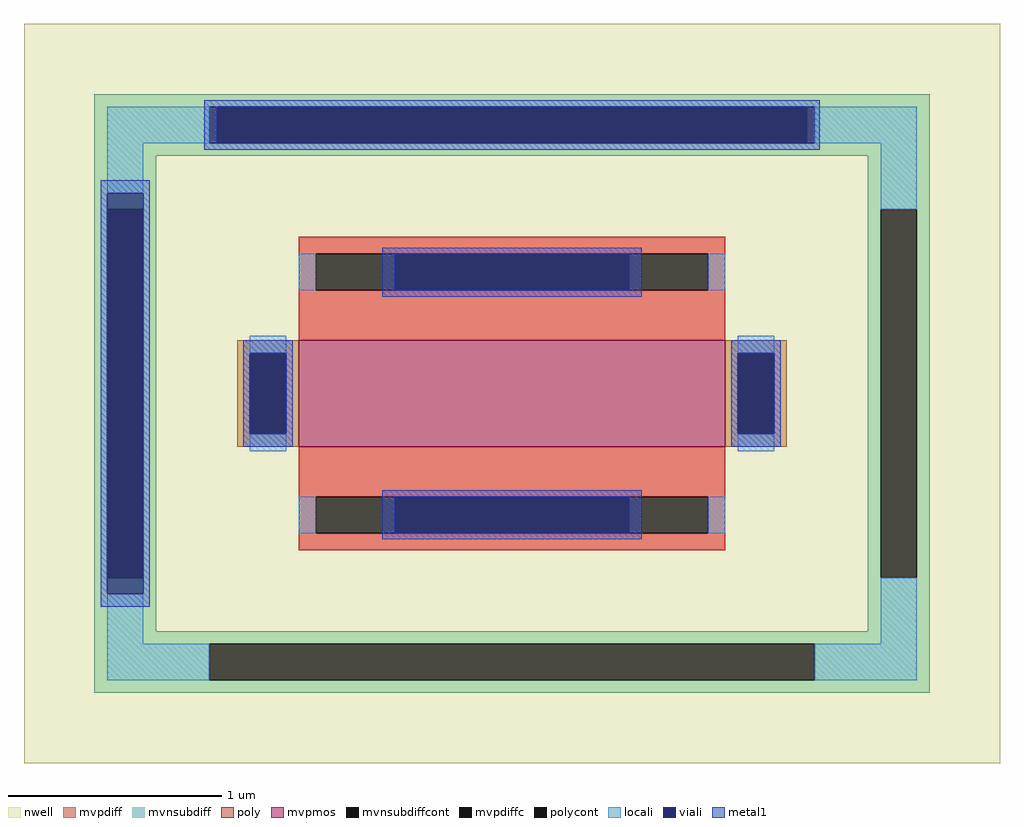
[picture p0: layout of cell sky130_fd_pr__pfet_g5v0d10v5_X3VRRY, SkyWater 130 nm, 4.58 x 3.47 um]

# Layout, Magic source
magic
tech sky130A
magscale 1 2
<< nwell >>
rect -458 -347 458 347
<< mvpmos >>
rect -200 -50 200 50
<< mvpdiff >>
rect -258 38 -200 50
rect -258 -38 -246 38
rect -212 -38 -200 38
rect -258 -50 -200 -38
rect 200 38 258 50
rect 200 -38 212 38
rect 246 -38 258 38
rect 200 -50 258 -38
<< mvpdiffc >>
rect -246 -38 -212 38
rect 212 -38 246 38
<< mvnsubdiff >>
rect -392 269 392 281
rect -392 235 -284 269
rect 284 235 392 269
rect -392 223 392 235
rect -392 173 -334 223
rect -392 -173 -380 173
rect -346 -173 -334 173
rect 334 173 392 223
rect -392 -223 -334 -173
rect 334 -173 346 173
rect 380 -173 392 173
rect 334 -223 392 -173
rect -392 -235 392 -223
rect -392 -269 -284 -235
rect 284 -269 392 -235
rect -392 -281 392 -269
<< mvnsubdiffcont >>
rect -284 235 284 269
rect -380 -173 -346 173
rect 346 -173 380 173
rect -284 -269 284 -235
<< poly >>
rect -200 131 200 147
rect -200 97 -184 131
rect 184 97 200 131
rect -200 50 200 97
rect -200 -97 200 -50
rect -200 -131 -184 -97
rect 184 -131 200 -97
rect -200 -147 200 -131
<< polycont >>
rect -184 97 184 131
rect -184 -131 184 -97
<< locali >>
rect -380 235 -284 269
rect 284 235 380 269
rect -380 188 -346 235
rect 346 173 380 235
rect -200 97 -184 131
rect 184 97 200 131
rect -246 38 -212 54
rect -246 -54 -212 -38
rect 212 38 246 54
rect 212 -54 246 -38
rect -200 -131 -184 -97
rect 184 -131 200 -97
rect -380 -235 -346 -188
rect 346 -235 380 -173
rect -380 -269 -284 -235
rect 284 -269 380 -235
<< viali >>
rect -277 235 277 269
rect -380 173 -346 188
rect -380 -173 -346 173
rect -110 97 110 131
rect -246 -38 -212 38
rect 212 -38 246 38
rect -110 -131 110 -97
rect -380 -188 -346 -173
<< metal1 >>
rect -289 269 289 275
rect -289 235 -277 269
rect 277 235 289 269
rect -289 229 289 235
rect -386 188 -340 200
rect -386 -188 -380 188
rect -346 -188 -340 188
rect -122 131 122 137
rect -122 97 -110 131
rect 110 97 122 131
rect -122 91 122 97
rect -252 38 -206 50
rect -252 -38 -246 38
rect -212 -38 -206 38
rect -252 -50 -206 -38
rect 206 38 252 50
rect 206 -38 212 38
rect 246 -38 252 38
rect 206 -50 252 -38
rect -122 -97 122 -91
rect -122 -131 -110 -97
rect 110 -131 122 -97
rect -122 -137 122 -131
rect -386 -200 -340 -188
<< properties >>
string FIXED_BBOX -363 -252 363 252
string gencell sky130_fd_pr__pfet_g5v0d10v5
string library sky130
string parameters w 0.5 l 2 m 1 nf 1 diffcov 100 polycov 100 guard 1 glc 1 grc 1 gtc 1 gbc 1 tbcov 100 rlcov 100 topc 1 botc 1 poverlap 0 doverlap 1 lmin 0.50 wmin 0.42 compatible {sky130_fd_pr__pfet_01v8  sky130_fd_pr__pfet_01v8_lvt sky130_fd_pr__pfet_01v8_hvt  sky130_fd_pr__pfet_g5v0d10v5} full_metal 1 viasrc 100 viadrn 100 viagate 60 viagb 0 viagr 0 viagl 80 viagt 80
<< end >>
